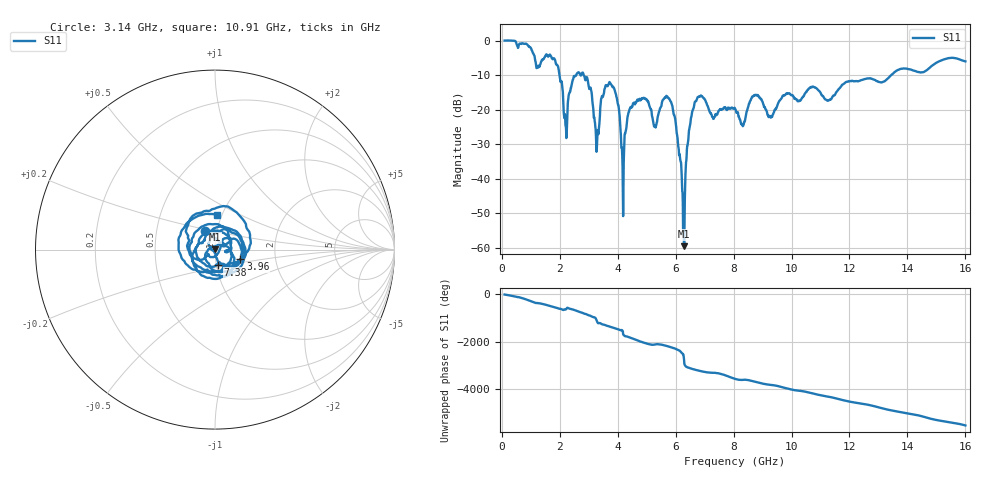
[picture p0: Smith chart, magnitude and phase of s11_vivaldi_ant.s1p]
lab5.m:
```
clear all
close all
clc

%% Load data
sparam = sparameters('s11_vivaldi_ant.s1p');

Z0 = sparam.Impedance;
f=sparam.Frequencies;
sparam = reshape(sparam.Parameters, [],1);

f3_idx = find(f==3e9);
f8_idx = find(f==8e9);
f11_idx = find(f==11e9);

%%
s3 = sparam(f3_idx);
s8 = sparam(f8_idx);
s11 = sparam(f11_idx);

%%
z = reshape(s2z(sparam,Z0), [],1);

z3 = z(f3_idx);
z8 = z(f8_idx);
z11 = z(f11_idx);

real(z11);
imag(z11);

%%
g3 = abs(s3);
g8 = abs(s8);
g11 = abs(s11);

g11^2*100
(1-g11^2)*100
```
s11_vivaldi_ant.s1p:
#  HZ  S  DB  R  50.00
! Rohde & Schwarz ZVA40 2Ports - Version 2.79 - 1145.1110k40 SN: 100272
! Date: 2023-03-21 17:30:12
! Measurement: S11
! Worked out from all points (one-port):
!   1591 points, 100 MHz to 16 GHz, reference 50 ohm
!   lowest |S11| = -59.6 dB at 6.29 GHz (marker M1), VSWR 1.00, Z = 49.9 + j0.0567 ohm
!   |S11| at or under -10 dB: 1.993 GHz to 2.574 GHz (580.7 MHz wide, 25.4 % of centre); 2.717 GHz to 2.741 GHz (24.08 MHz wide, 0.883 % of centre); 2.827 GHz to 13.44 GHz (10.62 GHz wide, 130 % of centre)
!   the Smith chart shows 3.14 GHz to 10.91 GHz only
!   S11 on the Smith chart (normalised r, x): 3.14 GHz: 0.87, +0.19; 3.96 GHz: 1.32, -0.15; 7.38 GHz: 1.02, -0.17; 10.91 GHz: 0.95, +0.38
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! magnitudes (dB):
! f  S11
! 100 MHz  0.0
! 2.2 GHz  -24.6
! 3.14 GHz  -18.4
! 3.96 GHz  -16.4
! 4.18 GHz  -44.4
! 4.5 GHz  -19.2
! 5.4 GHz  -21.6
! 5.86 GHz  -18.2
! 6.29 GHz  -59.6
! 6.64 GHz  -18.8
! 7.38 GHz  -21.3
! 10.7 GHz  -13.4
! 10.91 GHz  -14.3
! 16 GHz  -6.0
